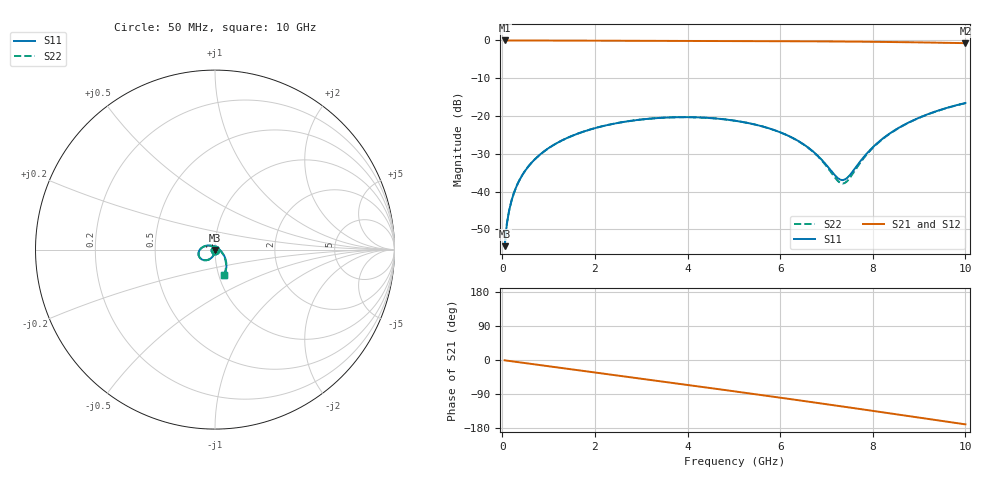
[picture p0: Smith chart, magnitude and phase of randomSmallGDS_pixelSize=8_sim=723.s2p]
! freq	dB(S11)	phase(S11)	dB(S12)	phase(S12)
!  dB(S21)	phase(S21)	dB(S22)	phase(S22)
!S-par simulation data
#  GHz  S  DB  R 50
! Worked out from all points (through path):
!   200 points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, 50 MHz to 10 GHz, reference 50 ohm
!   highest |S21| = 0.00 dB at 50 MHz (marker M1); lowest = -0.7 dB at 10 GHz (marker M2)
!   group delay of S21, straight-line fit = 47 ps
!   lowest |S11| = -54.4 dB at 50 MHz (marker M3), VSWR 1.00, Z = 50 - j0.19 ohm
!   |S11| at or under -10 dB: start of sweep to end of sweep
!   |S22| runs from -54.4 to -16.6 dB; largest |S21 - S12| = 0
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0.05  -54.44 -90.4  -0.00 -0.8  -0.00 -0.8  -54.44 -90.4
0.1  -48.41 -91.8  -0.00 -1.7  -0.00 -1.7  -48.41 -91.8
0.15  -44.87 -92.9  -0.00 -2.5  -0.00 -2.5  -44.87 -92.9
0.2  -42.35 -93.9  -0.00 -3.3  -0.00 -3.3  -42.35 -93.9
0.35  -37.46 -96.6  -0.00 -5.8  -0.00 -5.8  -37.46 -96.6
0.5  -34.37 -99.1  -0.01 -8.3  -0.01 -8.3  -34.37 -99.1
0.7  -31.48 -102.5  -0.01 -11.6  -0.01 -11.6  -31.48 -102.5
1  -28.50 -107.5  -0.02 -16.5  -0.02 -16.5  -28.50 -107.5
1.75  -24.13 -120.2  -0.05 -28.8  -0.05 -28.8  -24.13 -120.1
2.5  -21.82 -132.8  -0.07 -41.1  -0.07 -41.1  -21.82 -132.7
3.4  -20.50 -148.1  -0.10 -55.9  -0.10 -55.9  -20.50 -147.9
4.25  -20.37 -163.0  -0.13 -70.0  -0.13 -70.0  -20.37 -162.7
5.05  -21.29 -177.8  -0.16 -83.3  -0.16 -83.3  -21.29 -177.3
6  -24.30 161.7  -0.19 -99.4  -0.19 -99.4  -24.31 162.7
6.7  -29.27 138.7  -0.23 -111.4  -0.23 -111.4  -29.36 140.6
7.2  -35.91 91.9  -0.27 -120.1  -0.27 -120.1  -36.55 94.9
7.35  -36.96 60.5  -0.28 -122.7  -0.28 -122.7  -37.89 61.1
7.45  -36.35 38.5  -0.29 -124.5  -0.29 -124.5  -37.20 37.0
7.95  -28.88 -15.6  -0.35 -133.3  -0.35 -133.3  -29.07 -18.0
8.35  -24.75 -31.7  -0.40 -140.4  -0.40 -140.4  -24.85 -33.4
9.05  -20.19 -49.9  -0.52 -152.9  -0.52 -152.9  -20.24 -51.1
10  -16.56 -69.3  -0.71 -169.8  -0.71 -169.8  -16.58 -70.2
